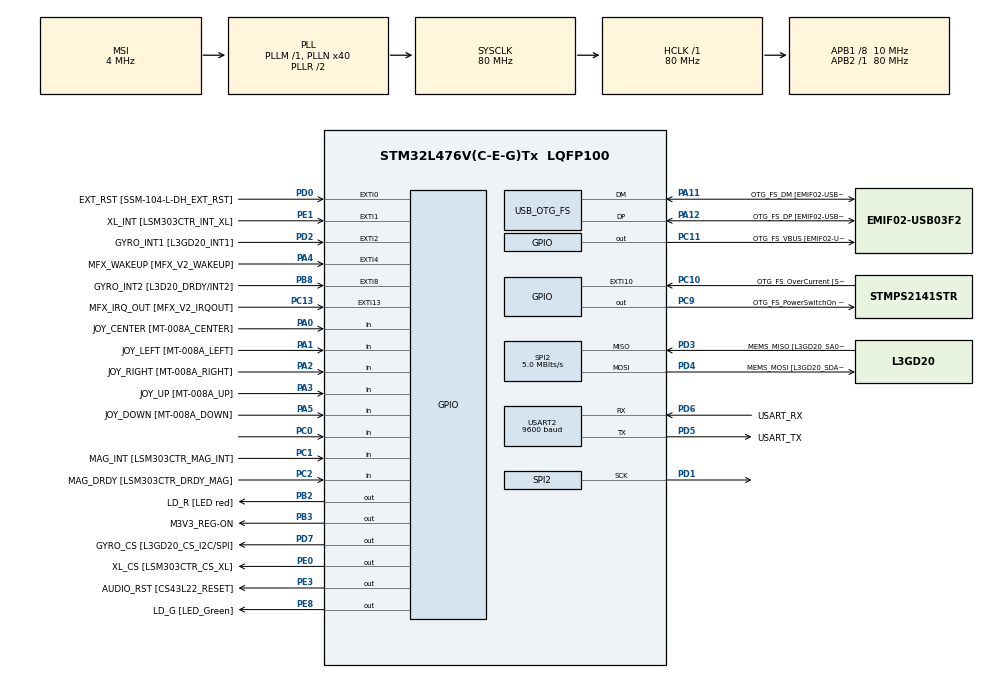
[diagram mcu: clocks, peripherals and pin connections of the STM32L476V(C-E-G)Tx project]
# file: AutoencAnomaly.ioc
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Mcu.Family=STM32L4
Mcu.Name=STM32L476V(C-E-G)Tx
Mcu.Package=LQFP100
NVIC.OTG_FS_IRQn=true\:0\:0\:false\:false\:true\:true\:true\:true
NVIC.PriorityGroup=NVIC_PRIORITYGROUP_4
PA0.GPIO_Label=JOY_CENTER [MT-008A_CENTER]
PA0.GPIO_Mode=GPIO_MODE_INPUT
PA0.GPIO_PuPd=GPIO_PULLDOWN
PA0.Signal=GPIO_Input
PA1.GPIO_Label=JOY_LEFT [MT-008A_LEFT]
PA1.GPIO_Mode=GPIO_MODE_INPUT
PA1.GPIO_PuPd=GPIO_PULLDOWN
PA1.Signal=GPIO_Input
PA10.Signal=LCD_COM2
PA11.GPIO_Label=OTG_FS_DM [EMIF02-USB03F2_D-out]
PA11.GPIO_Mode=GPIO_MODE_AF_PP
PA11.GPIO_PuPd=GPIO_NOPULL
PA11.GPIO_Speed=GPIO_SPEED_FREQ_VERY_HIGH
PA11.Mode=Host_Only
PA11.Signal=USB_OTG_FS_DM
PA12.GPIO_Label=OTG_FS_DP [EMIF02-USB03F2_D+out]
PA12.GPIO_Mode=GPIO_MODE_AF_PP
PA12.GPIO_PuPd=GPIO_NOPULL
PA12.GPIO_Speed=GPIO_SPEED_FREQ_VERY_HIGH
PA12.Mode=Host_Only
PA12.Signal=USB_OTG_FS_DP
PA13\ (JTMS-SWDIO).GPIO_Label=SWDIO
PA13\ (JTMS-SWDIO).Mode=Serial_Wire
PA13\ (JTMS-SWDIO).Signal=SYS_JTMS-SWDIO
PA14\ (JTCK-SWCLK).GPIO_Label=SWCLK
PA14\ (JTCK-SWCLK).Mode=Serial_Wire
PA14\ (JTCK-SWCLK).Signal=SYS_JTCK-SWCLK
PA15\ (JTDI).Signal=LCD_SEG17
PA2.GPIO_Label=JOY_RIGHT [MT-008A_RIGHT]
PA2.GPIO_Mode=GPIO_MODE_INPUT
PA2.GPIO_PuPd=GPIO_PULLDOWN
PA2.Signal=GPIO_Input
PA3.GPIO_Label=JOY_UP [MT-008A_UP]
PA3.GPIO_Mode=GPIO_MODE_INPUT
PA3.GPIO_PuPd=GPIO_PULLDOWN
PA3.Signal=GPIO_Input
PA4.GPIO_Label=MFX_WAKEUP [MFX_V2_WAKEUP]
PA4.GPIO_ModeDefaultEXTI=GPIO_MODE_EVT_RISING
PA4.GPIO_PuPd=GPIO_NOPULL
PA4.Signal=GPXTI4
PA5.GPIO_Label=JOY_DOWN [MT-008A_DOWN]
PA5.GPIO_Mode=GPIO_MODE_INPUT
PA5.GPIO_PuPd=GPIO_PULLDOWN
PA5.Signal=GPIO_Input
PA6.Signal=LCD_SEG3
PA7.Signal=LCD_SEG4
PA8.GPIO_Mode=GPIO_MODE_AF_PP
PA8.GPIO_PuPd=GPIO_NOPULL
PA8.GPIO_Speed=GPIO_SPEED_FREQ_LOW
PA8.Signal=LCD_COM0
PA9.GPIO_Mode=GPIO_MODE_AF_PP
PA9.GPIO_PuPd=GPIO_NOPULL
PA9.GPIO_Speed=GPIO_SPEED_FREQ_LOW
PA9.Signal=LCD_COM1
PB0.Signal=LCD_SEG5
PB1.Signal=LCD_SEG6
PB10.Signal=LCD_SEG10
PB11.Signal=LCD_SEG11
PB12.Signal=LCD_SEG12
PB13.Signal=LCD_SEG13
PB14.Signal=LCD_SEG14
PB15.Signal=LCD_SEG15
PB2.GPIO_Label=LD_R [LED red]
PB2.GPIO_ModeDefaultOutputPP=GPIO_MODE_OUTPUT_PP
PB2.GPIO_PuPd=GPIO_PULLUP
PB2.GPIO_Speed=GPIO_SPEED_FREQ_VERY_HIGH
PB2.Signal=GPIO_Output
PB3\ (JTDO-TRACESWO).GPIO_Label=M3V3_REG-ON
PB3\ (JTDO-TRACESWO).GPIO_ModeDefaultOutputPP=GPIO_MODE_OUTPUT_PP
PB3\ (JTDO-TRACESWO).GPIO_PuPd=GPIO_NOPULL
PB3\ (JTDO-TRACESWO).GPIO_Speed=GPIO_SPEED_FREQ_LOW
PB3\ (JTDO-TRACESWO).Signal=GPIO_Output
PB4\ (NJTRST).Signal=LCD_SEG8
PB5.Signal=LCD_SEG9
PB6.GPIO_FM6=__NULL
PB6.GPIO_Label=I2C1_SCL [SSM-104-L-DH_SCL]
PB6.GPIO_Mode=GPIO_MODE_AF_OD
PB6.GPIO_Pu=GPIO_PULLUP
PB6.GPIO_Speed=GPIO_SPEED_FREQ_VERY_HIGH
PB6.Signal=I2C1_SCL
PB7.Signal=LCD_SEG21
PB8.GPIO_Label=GYRO_INT2 [L3D20_DRDY/INT2]
PB8.GPIO_ModeDefaultEXTI=GPIO_MODE_EVT_RISING
PB8.GPIO_PuPd=GPIO_NOPULL
PB8.Signal=GPXTI8
PB9.Signal=LCD_COM3
PC0.Signal=GPIO_Input
PC1.GPIO_Label=MAG_INT [LSM303CTR_MAG_INT]
PC1.GPIO_Mode=GPIO_MODE_INPUT
PC1.GPIO_PuPd=GPIO_NOPULL
PC1.Signal=GPIO_Input
PC10.GPIO_Label=OTG_FS_OverCurrent [STMPS2141STR_FAULT]
PC10.GPIO_ModeDefaultEXTI=GPIO_MODE_EVT_RISING
PC10.GPIO_PuPd=GPIO_NOPULL
PC10.Signal=GPXTI10
PC11.GPIO_Label=OTG_FS_VBUS [EMIF02-USB03F2_Vbus]
PC11.GPIO_ModeDefaultOutputPP=GPIO_MODE_OUTPUT_PP
PC11.GPIO_PuPd=GPIO_NOPULL
PC11.GPIO_Speed=GPIO_SPEED_FREQ_LOW
PC11.Signal=GPIO_Output
PC12.Signal=LCD_SEG30
PC13.GPIO_Label=MFX_IRQ_OUT [MFX_V2_IRQOUT]
PC13.GPIO_ModeDefaultEXTI=GPIO_MODE_EVT_RISING
PC13.GPIO_PuPd=GPIO_NOPULL
PC13.Signal=GPXTI13
PC14-OSC32_IN\ (PC14).Mode=LSE-External-Oscillator
PC14-OSC32_IN\ (PC14).Signal=RCC_OSC32_IN
PC15-OSC32_OUT\ (PC15).Mode=LSE-External-Oscillator
PC15-OSC32_OUT\ (PC15).Signal=RCC_OSC32_OUT
PC2.GPIO_Label=MAG_DRDY [LSM303CTR_DRDY_MAG]
PC2.GPIO_Mode=GPIO_MODE_INPUT
PC2.GPIO_PuPd=GPIO_NOPULL
PC2.Signal=GPIO_Input
PC3.GPIO_Mode=GPIO_MODE_AF_PP
PC3.GPIO_PuPd=GPIO_NOPULL
PC3.GPIO_Speed=GPIO_SPEED_FREQ_LOW
PC3.Signal=LCD_VLCD
PC4.Signal=LCD_SEG22
PC5.Signal=LCD_SEG23
PC6.Signal=LCD_SEG24
PC7.Signal=LCD_SEG25
PC8.Signal=LCD_SEG26
PC9.GPIO_Label=OTG_FS_PowerSwitchOn [STMPS2141STR_EN]
PC9.GPIO_ModeDefaultOutputPP=GPIO_MODE_OUTPUT_PP
PC9.GPIO_PuPd=GPIO_NOPULL
PC9.GPIO_Speed=GPIO_SPEED_FREQ_LOW
PC9.PinState=GPIO_PIN_SET
PC9.Signal=GPIO_Output
PD0.GPIO_Label=EXT_RST [SSM-104-L-DH_EXT_RST]
PD0.GPIO_ModeDefaultEXTI=GPIO_MODE_EVT_RISING
PD0.GPIO_PuPd=GPIO_NOPULL
PD0.Signal=GPXTI0
PD1.Mode=Full_Duplex_Master
PD1.Signal=SPI2_SCK
PD11.Signal=LCD_SEG31
PD12.Signal=LCD_SEG32
PD13.Signal=LCD_SEG33
PD14.Signal=LCD_SEG34
PD15.Signal=LCD_SEG35
PD2.GPIO_Label=GYRO_INT1 [L3GD20_INT1]
PD2.GPIO_ModeDefaultEXTI=GPIO_MODE_EVT_RISING
PD2.GPIO_PuPd=GPIO_NOPULL
PD2.Signal=GPXTI2
PD3.GPIO_Label=MEMS_MISO [L3GD20_SA0/SDO]
PD3.GPIO_Mode=GPIO_MODE_AF_PP
PD3.GPIO_PuPd=GPIO_NOPULL
PD3.GPIO_Speed=GPIO_SPEED_FREQ_VERY_HIGH
PD3.Mode=Full_Duplex_Master
PD3.Signal=SPI2_MISO
PD4.GPIO_Label=MEMS_MOSI [L3GD20_SDA/SDI/SDO]
PD4.GPIO_Mode=GPIO_MODE_AF_PP
PD4.GPIO_PuPd=GPIO_NOPULL
PD4.GPIO_Speed=GPIO_SPEED_FREQ_VERY_HIGH
PD4.Mode=Full_Duplex_Master
PD4.Signal=SPI2_MOSI
PD5.GPIO_Label=USART_TX
PD5.GPIO_Mode=GPIO_MODE_AF_PP
PD5.GPIO_PuPd=GPIO_PULLUP
PD5.GPIO_Speed=GPIO_SPEED_FREQ_VERY_HIGH
PD5.Mode=Asynchronous
PD5.Signal=USART2_TX
PD6.GPIO_Label=USART_RX
PD6.GPIO_Mode=GPIO_MODE_AF_PP
PD6.GPIO_PuPd=GPIO_PULLUP
PD6.GPIO_Speed=GPIO_SPEED_FREQ_VERY_HIGH
PD6.Mode=Asynchronous
PD6.Signal=USART2_RX
PD7.GPIO_Label=GYRO_CS [L3GD20_CS_I2C/SPI]
PD7.GPIO_ModeDefaultOutputPP=GPIO_MODE_OUTPUT_PP
PD7.GPIO_PuPd=GPIO_NOPULL
PD7.GPIO_Speed=GPIO_SPEED_FREQ_VERY_HIGH
PD7.Signal=GPIO_Output
PD8.Signal=LCD_SEG28
PD9.Signal=LCD_SEG29
PE0.GPIO_Label=XL_CS [LSM303CTR_CS_XL]
PE0.GPIO_ModeDefaultOutputPP=GPIO_MODE_OUTPUT_PP
PE0.GPIO_PuPd=GPIO_NOPULL
PE0.GPIO_Speed=GPIO_SPEED_FREQ_LOW
PE0.Signal=GPIO_Output
PE1.GPIO_Label=XL_INT [LSM303CTR_INT_XL]
PE1.GPIO_ModeDefaultEXTI=GPIO_MODE_EVT_RISING
PE1.GPIO_PuPd=GPIO_NOPULL
PE1.Signal=GPXTI1
PE10.GPIO_Mode=GPIO_MODE_AF_PP
PE10.GPIO_PuPd=GPIO_NOPULL
PE10.GPIO_Speed=GPIO_SPEED_FREQ_VERY_HIGH
PE10.Signal=QUADSPI_CLK
PE11.GPIO_Mode=GPIO_MODE_AF_PP
PE11.GPIO_PuPd=GPIO_NOPULL
PE11.GPIO_Speed=GPIO_SPEED_FREQ_VERY_HIGH
PE11.Signal=QUADSPI_NCS
PE12.GPIO_Mode=GPIO_MODE_AF_PP
PE12.GPIO_PuPd=GPIO_NOPULL
PE12.GPIO_Speed=GPIO_SPEED_FREQ_VERY_HIGH
PE12.Signal=QUADSPI_BK1_IO0
PE13.GPIO_Mode=GPIO_MODE_AF_PP
PE13.GPIO_PuPd=GPIO_NOPULL
PE13.GPIO_Speed=GPIO_SPEED_FREQ_VERY_HIGH
PE13.Signal=QUADSPI_BK1_IO1
PE14.GPIO_Label=QSPI_D2 [N25Q128A13EF840E_DQ2]
PE14.GPIO_Mode=GPIO_MODE_AF_PP
PE14.GPIO_PuPd=GPIO_NOPULL
PE14.GPIO_Speed=GPIO_SPEED_FREQ_VERY_HIGH
PE14.Signal=QUADSPI_BK1_IO2
PE15.GPIO_Label=QSPI_D3 [N25Q128A13EF840E_DQ3]
PE15.GPIO_Mode=GPIO_MODE_AF_PP
PE15.GPIO_PuPd=GPIO_NOPULL
PE15.GPIO_Speed=GPIO_SPEED_FREQ_VERY_HIGH
PE15.Signal=QUADSPI_BK1_IO3
PE2.Signal=LCD_SEG38
PE3.GPIO_Label=AUDIO_RST [CS43L22_RESET]
PE3.GPIO_ModeDefaultOutputPP=GPIO_MODE_OUTPUT_PP
PE3.GPIO_PuPd=GPIO_NOPULL
PE3.GPIO_Speed=GPIO_SPEED_FREQ_HIGH
PE3.Signal=GPIO_Output
PE4.GPIO_Label=SAI1_FS [CS43L22_LRCK]
PE4.GPIO_Mode=GPIO_MODE_AF_PP
PE4.GPIO_PuPd=GPIO_NOPULL
PE4.GPIO_Speed=GPIO_SPEED_FREQ_VERY_HIGH
PE4.Signal=SAI1_FS_A
PE5.GPIO_Label=SAI1_SCK [CS43L22_SCLK]
PE5.GPIO_Mode=GPIO_MODE_AF_PP
PE5.GPIO_PuPd=GPIO_NOPULL
PE5.GPIO_Speed=GPIO_SPEED_FREQ_VERY_HIGH
PE5.Signal=SAI1_SCK_A
PE6.GPIO_Label=SAI1_SD [CS43L22_SDIN]
PE6.GPIO_Mode=GPIO_MODE_AF_PP
PE6.GPIO_PuPd=GPIO_NOPULL
PE6.GPIO_Speed=GPIO_SPEED_FREQ_VERY_HIGH
PE6.Signal=SAI1_SD_A
PE7.GPIO_Label=AUDIO_DIN [MP34DT01_DOUT]
PE7.GPIO_Mode=GPIO_MODE_AF_PP
PE7.GPIO_PuPd=GPIO_NOPULL
PE7.GPIO_Speed=GPIO_SPEED_FREQ_VERY_HIGH
PE7.Signal=SAI1_SD_B
PE8.GPIO_Label=LD_G [LED_Green]
PE8.GPIO_ModeDefaultOutputPP=GPIO_MODE_OUTPUT_PP
PE8.GPIO_PuPd=GPIO_PULLUP
PE8.GPIO_Speed=GPIO_SPEED_FREQ_VERY_HIGH
PE8.Signal=GPIO_Output
PE9.GPIO_Label=AUDIO_CLK [MP34DT01_CLK]
PE9.GPIO_Mode=GPIO_MODE_AF_PP
PE9.GPIO_PuPd=GPIO_NOPULL
PE9.GPIO_Speed=GPIO_SPEED_FREQ_LOW
PE9.Signal=SAI1_FS_B
PH0-OSC_IN\ (PH0).Mode=HSE-External-Oscillator
PH0-OSC_IN\ (PH0).Signal=RCC_OSC_IN
PH1-OSC_OUT\ (PH1).Mode=HSE-External-Oscillator
PH1-OSC_OUT\ (PH1).Signal=RCC_OSC_OUT
ProjectManager.HeapSize=0x800
ProjectManager.StackSize=0x1000
ProjectManager.TargetToolchain=STM32CubeIDE
RCC.ADCFreq_Value=48000000
RCC.AHBFreq_Value=80000000
RCC.APB1CLKDivider=RCC_HCLK_DIV8
RCC.APB1Freq_Value=10000000
RCC.APB1TimFreq_Value=20000000
RCC.APB2Freq_Value=80000000
RCC.APB2TimFreq_Value=80000000
RCC.CortexFreq_Value=80000000
RCC.HCLKFreq_Value=80000000
RCC.HSE_VALUE=8000000
RCC.HSI_VALUE=16000000
RCC.MSI_VALUE=4000000
RCC.PLLN=40
RCC.PLLSAI1N=24
RCC.PREFETCH_ENABLE=1
RCC.RTCClockSelection=RCC_RTCCLKSOURCE_LSE
RCC.SYSCLKFreq_VALUE=80000000
RCC.SYSCLKSource=RCC_SYSCLKSOURCE_PLLCLK
RCC.USART2CLockSelection=RCC_USART2CLKSOURCE_SYSCLK
RCC.USBFreq_Value=48000000
RCC.VCOOutputFreq_Value=160000000
SPI2.BaudRatePrescaler=SPI_BAUDRATEPRESCALER_2
SPI2.CalculateBaudRate=5.0 MBits/s
SPI2.Direction=SPI_DIRECTION_2LINES
SPI2.Mode=SPI_MODE_MASTER
SPI2.VirtualType=VM_MASTER
STMicroelectronics.X-CUBE-AI.7.1.0.ActivationBufferSizeList=44
STMicroelectronics.X-CUBE-AI.7.1.0.ActivationBuffers=pool0
STMicroelectronics.X-CUBE-AI.7.1.0.ActivationNames=pool0
STMicroelectronics.X-CUBE-AI.7.1.0.ActivationSizes=AI_NETWORK_DATA_ACTIVATION_1_SIZE
STMicroelectronics.X-CUBE-AI.7.1.0.HeapSize=0x800
STMicroelectronics.X-CUBE-AI.7.1.0.InternalRamActivationBufferMaxSize=AI_NETWORK_DATA_ACTIVATIONS_SIZE
STMicroelectronics.X-CUBE-AI.7.1.0.LatestDirectoryUsed-5fd90cdd253ec951de578391504b666c0e46cd835d5aafb4f89f38390d5d8160=C\:\\Archivio\\Lavoro\\MBDA\\Hums\\tinyml-example-anomaly-detection-master\\autoencoder\\models
STMicroelectronics.X-CUBE-AI.7.1.0.MaximumNumberOfInputLayer=1
STMicroelectronics.X-CUBE-AI.7.1.0.MaximumNumberOfOutputLayer=1
STMicroelectronics.X-CUBE-AI.7.1.0.MaximumSizeOfInputLayer=AI_NETWORK_IN_1_SIZE_BYTES
STMicroelectronics.X-CUBE-AI.7.1.0.MaximumSizeOfOutputLayer=AI_NETWORK_OUT_1_SIZE_BYTES
STMicroelectronics.X-CUBE-AI.7.1.0.ModelActualCompression-5fd90cdd253ec951de578391504b666c0e46cd835d5aafb4f89f38390d5d8160=0.0
STMicroelectronics.X-CUBE-AI.7.1.0.ModelCompression-5fd90cdd253ec951de578391504b666c0e46cd835d5aafb4f89f38390d5d8160=1
STMicroelectronics.X-CUBE-AI.7.1.0.ModelFlashOccupation-5fd90cdd253ec951de578391504b666c0e46cd835d5aafb4f89f38390d5d8160=68
STMicroelectronics.X-CUBE-AI.7.1.0.ModelHashList=5fd90cdd253ec951de578391504b666c0e46cd835d5aafb4f89f38390d5d8160
STMicroelectronics.X-CUBE-AI.7.1.0.ModelKind-5fd90cdd253ec951de578391504b666c0e46cd835d5aafb4f89f38390d5d8160=TFLITE
STMicroelectronics.X-CUBE-AI.7.1.0.ModelMacc-5fd90cdd253ec951de578391504b666c0e46cd835d5aafb4f89f38390d5d8160=22
STMicroelectronics.X-CUBE-AI.7.1.0.ModelName-5fd90cdd253ec951de578391504b666c0e46cd835d5aafb4f89f38390d5d8160=network
STMicroelectronics.X-CUBE-AI.7.1.0.ModelNameList=network
STMicroelectronics.X-CUBE-AI.7.1.0.ModelRamOccupation-5fd90cdd253ec951de578391504b666c0e46cd835d5aafb4f89f38390d5d8160=44
STMicroelectronics.X-CUBE-AI.7.1.0.ModelStructureFile-5fd90cdd253ec951de578391504b666c0e46cd835d5aafb4f89f38390d5d8160=C\:\\Archivio\\Lavoro\\MBDA\\Hums\\tinyml-example-anomaly-detection-master\\autoencoder\\models\\my_model.tflite
STMicroelectronics.X-CUBE-AI.7.1.0.ModelType-5fd90cdd253ec951de578391504b666c0e46cd835d5aafb4f89f38390d5d8160=STM32Cube.AI runtime
STMicroelectronics.X-CUBE-AI.7.1.0.ReadyForCodeGeneration=true
STMicroelectronics.X-CUBE-AI.7.1.0.StackSize=0x1000
STMicroelectronics.X-CUBE-AI.7.1.0.WorkingBufferStartAddrList=0xFFFFFFFF
STMicroelectronics.X-CUBE-AI.7.1.0.XAaCUBEAaAICcArtificialOoIntelligenceJjCore=true
TIM16.Period=65535
TIM16.Prescaler=80
USART2.BaudRate=9600
USART2.VirtualMode-Asynchronous=VM_ASYNC
USB_HOST.BSP.number=1
USB_HOST.USBH_HandleTypeDef=hUsbHostFS
USB_HOST.VirtualModeFS=Cdc
USB_HOST0.BSP.STBoard=false
USB_HOST0.BSP.api=Unknown
USB_HOST0.BSP.instance=PC9
USB_HOST0.BSP.ip=GPIO
USB_HOST0.BSP.mode=Output
USB_HOST0.BSP.name=Drive_VBUS_FS
USB_HOST0.BSP.solution=PC9
USB_OTG_FS.VirtualMode=Host_Only
USB_OTG_FS.phy_itface=HCD_PHY_EMBEDDED
VP_CRC_VS_CRC.Mode=CRC_Activate
VP_STMicroelectronics.X-CUBE-AI_VS_ArtificialOoIntelligenceJjXAaCUBEAaAI_7.1.0.Mode=ArtificialOoIntelligenceJjXAaCUBEAaAI
VP_TIM16_VS_ClockSourceINT.Mode=Enable_Timer
VP_USB_HOST_VS_USB_HOST_CDC_FS.Mode=CDC_FS
board=STM32L476G-DISCO

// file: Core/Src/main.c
/* USER CODE BEGIN Header */
/**
 ******************************************************************************
 * @file           : main.c
 * @brief          : Main program body
 ******************************************************************************
 * @attention
 *
 * Copyright (c) 2022 STMicroelectronics.
 * All rights reserved.
 *
 * This software is licensed under terms that can be found in the LICENSE file
 * in the root directory of this software component.
 * If no LICENSE file comes with this software, it is provided AS-IS.
 *
 ******************************************************************************
 */
/* USER CODE END Header */
#include "main.h"
#include "usb_host.h"

/* USER CODE BEGIN Includes */
#include <stdio.h>

#include "../../../Drivers/BSP/Components/lsm303c/lsm303c.h"
#include "../../../Utilities/utils.h"
#include "../../../Utilities/utils.c"

#include "ai_datatypes_defines.h"
#include "ai_platform.h"
#include "network.h"
#include "network_data.h"
/* USER CODE END Includes */

CRC_HandleTypeDef hcrc;

SPI_HandleTypeDef hspi2;

TIM_HandleTypeDef htim16;

UART_HandleTypeDef huart2;

void SystemClock_Config(void);
static void MX_GPIO_Init(void);
static void MX_SPI2_Init(void);
static void MX_USART2_UART_Init(void);
static void MX_CRC_Init(void);
static void MX_TIM16_Init(void);
void MX_USB_HOST_Process(void);

/* USER CODE BEGIN 0 */

typedef enum {
	COMPASS_OK = 0, COMPASS_ERROR = 1, COMPASS_TIMEOUT = 2
} COMPASS_StatusTypeDef;

extern void BSP_COMPASS_AccGetXYZ(int16_t *pDataXYZ);
extern COMPASS_StatusTypeDef BSP_COMPASS_Init(void);

/* USER CODE END 0 */

int main(void) {
	/* USER CODE BEGIN 1 */

	// Settings
	int NUM_AXES = 3;           // Number of axes on accelerometer
	int MAX_MEASUREMENTS = 16; // Number of samples to keep in each axis
	float MAD_SCALE = 1.4826;   // Scale MAD to be inline with calcs
	float THRESHOLD = 7e-07;    // Any MSE over this is an anomaly
	int SAMPLE_RATE = 200;      // How fast to collect measurements (Hz)

	float sample[MAX_MEASUREMENTS][NUM_AXES];
	float measurements[MAX_MEASUREMENTS];
	float mad[NUM_AXES];
	float y_val[NUM_AXES];
	float mse;

	char buf[50];
	int buf_len = 0;
	ai_error ai_err;
	ai_network_report report;
	ai_i32 nbatch;
	uint32_t timestamp;
	int16_t pDataXYZ[3];

	//float y_val;

	// Memoria per tenere valori intermedi della rete
	AI_ALIGNED(4) ai_u8 activations[AI_NETWORK_DATA_ACTIVATIONS_SIZE];

	// Buffer per input ed output tensor
	AI_ALIGNED(4) ai_float in_data[AI_NETWORK_IN_1_SIZE];
	AI_ALIGNED(4) ai_float out_data[AI_NETWORK_OUT_1_SIZE];

	/* AI buffer IO handlers */
	ai_buffer *ai_input;
	ai_buffer *ai_output;

	// Puntatore al modello
	ai_handle network = AI_HANDLE_NULL;

	// Imposta memoria e pesi
	ai_network_params ai_params = { AI_NETWORK_DATA_WEIGHTS(
			ai_network_data_weights_get()), AI_NETWORK_DATA_ACTIVATIONS(
			activations) };

	/* USER CODE END 1 */

	/* MCU Configuration--------------------------------------------------------*/

	/* Reset of all peripherals, Initializes the Flash interface and the Systick. */
	HAL_Init();

	/* Configure the system clock */
	SystemClock_Config();

	/* Initialize all configured peripherals */
	MX_GPIO_Init();
	MX_SPI2_Init();
	MX_USART2_UART_Init();
	MX_USB_HOST_Init();
	MX_CRC_Init();
	MX_TIM16_Init();
	/* USER CODE BEGIN 2 */

	BSP_COMPASS_Init();

	// Welcome
	timestamp = htim16.Instance->CNT;

	HAL_GPIO_WritePin(GPIOB, GPIO_PIN_2, GPIO_PIN_SET);
	HAL_Delay(500);
	HAL_GPIO_WritePin(GPIOB, GPIO_PIN_2, GPIO_PIN_RESET);

	HAL_TIM_Base_Start(&htim16);
	buf_len = sprintf(buf, "\r\n\r\nSTM X-Cube-AI test\r\n");
	HAL_UART_Transmit(&huart2, (uint8_t*) buf, buf_len, 100);

	// rete
	ai_err = ai_network_create(&network, AI_NETWORK_DATA_CONFIG);
	if (ai_err.type != AI_ERROR_NONE) {
		buf_len = sprintf(buf, "ERROR: could not create NN instance\r\n");
		HAL_UART_Transmit(&huart2, (uint8_t*) buf, buf_len, 100);
		while (1)
			;
	}
	if (!ai_network_init(network, &ai_params)) {
		buf_len = sprintf(buf, "ERROR: could not init NN instance\r\n");
		HAL_UART_Transmit(&huart2, (uint8_t*) buf, buf_len, 100);
		while (1)
			;
	}
	if (ai_network_get_report(network, &report) != true) {
		buf_len = sprintf(buf, "ai get report error\r\n");
		HAL_UART_Transmit(&huart2, (uint8_t*) buf, buf_len, 100);
		while (1)
			;
	}

	buf_len = sprintf(buf, "Model name      : %s\r\n", report.model_name);
	HAL_UART_Transmit(&huart2, (uint8_t*) buf, buf_len, 100);
	buf_len = sprintf(buf, "Model signature : %s\r\n", report.model_signature);
	HAL_UART_Transmit(&huart2, (uint8_t*) buf, buf_len, 100);

	ai_input = &report.inputs[0];
	ai_output = &report.outputs[0];

	buf_len = sprintf(buf, "input[0] : (%d, %d, %d)\r\n",
			AI_BUFFER_SHAPE_ELEM(ai_input, AI_SHAPE_HEIGHT),
			AI_BUFFER_SHAPE_ELEM(ai_input, AI_SHAPE_WIDTH),
			AI_BUFFER_SHAPE_ELEM(ai_input, AI_SHAPE_CHANNEL));
	HAL_UART_Transmit(&huart2, (uint8_t*) buf, buf_len, 100);
	buf_len = sprintf(buf, "output[0] : (%d, %d, %d)\r\n",
			AI_BUFFER_SHAPE_ELEM(ai_output, AI_SHAPE_HEIGHT),
			AI_BUFFER_SHAPE_ELEM(ai_output, AI_SHAPE_WIDTH),
			AI_BUFFER_SHAPE_ELEM(ai_output, AI_SHAPE_CHANNEL));
	HAL_UART_Transmit(&huart2, (uint8_t*) buf, buf_len, 100);

	// puntatori ai buffer dati
	ai_input = ai_network_inputs_get(network, NULL);
	ai_output = ai_network_outputs_get(network, NULL);

	ai_input[0].data = AI_HANDLE_PTR(in_data);
	ai_output[0].data = AI_HANDLE_PTR(out_data);

	/* USER CODE END 2 */

	/* Infinite loop */
	/* USER CODE BEGIN WHILE */
	while (1) {
		// Take a given time worth of measurements
		int i = 0;
		while (i < MAX_MEASUREMENTS) {
			if (timestamp > 65535 - (1000000 / SAMPLE_RATE)) {
				// Update timestamps to maintain sample rate
				timestamp = htim16.Instance->CNT;
			}
			if (htim16.Instance->CNT >= timestamp + (1000000 / SAMPLE_RATE)) {

				// Take sample measurement
				BSP_COMPASS_AccGetXYZ(pDataXYZ);
				sample[i][0] = (double) pDataXYZ[0] * 0.000061;
				sample[i][1] = (double) pDataXYZ[1] * 0.000061;
				sample[i][2] = (double) pDataXYZ[2] * 0.000061;

				buf_len = sprintf(buf, "%f, %f, %f\r\n", sample[i][0],
						sample[i][1], sample[i][2]);
				HAL_UART_Transmit(&huart2, (uint8_t*) buf, buf_len, 100);

				// Update sample counter
				i++;
			}
		}

		// For each axis, compute the MAD (scale up by 1.4826)
		for (int axis = 0; axis < NUM_AXES; axis++) {
			for (int i = 0; i < MAX_MEASUREMENTS; i++) {
				measurements[i] = sample[i][axis];
			}
			mad[axis] = MAD_SCALE * calc_mad(measurements, MAX_MEASUREMENTS);
		}

		// Print out MAD calculations}
		buf_len = sprintf(buf, "MAD: x:%f, y:%f, z:%f\r\n", mad[0], mad[1],
				mad[2]);
		HAL_UART_Transmit(&huart2, (uint8_t*) buf, buf_len, 100);

		//input buffer
		for (int axis = 0; axis < NUM_AXES; axis++) {
			in_data[axis] = mad[axis];
		}

		timestamp = htim16.Instance->CNT;

		nbatch = ai_network_run(network, ai_input, ai_output);
		if (nbatch != 1) {
			buf_len = sprintf(buf, "ERROR: could not run inference\r\n");
			HAL_UART_Transmit(&huart2, (uint8_t*) buf, buf_len, 100);
		}

		uint32_t inferenceTime = htim16.Instance->CNT - timestamp;

		// Read predicted y value from output buffer (tensor)
		for (int axis = 0; axis < NUM_AXES; axis++) {
			y_val[axis] = ((float*) out_data)[axis];
		}

		// Print out result
		buf_len = sprintf(buf, "Inference result: ");
		HAL_UART_Transmit(&huart2, (uint8_t*) buf, buf_len, 100);
		buf_len = sprintf(buf, "x:%lf, ", y_val[0]);
		HAL_UART_Transmit(&huart2, (uint8_t*) buf, buf_len, 100);
		buf_len = sprintf(buf, "y:%lf, ", y_val[1]);
		HAL_UART_Transmit(&huart2, (uint8_t*) buf, buf_len, 100);
		buf_len = sprintf(buf, "z:%lf | Duration: %lu\r\n", y_val[2],
				inferenceTime);
		HAL_UART_Transmit(&huart2, (uint8_t*) buf, buf_len, 100);

		// Calculate MSE between given and predicted MAD values
		mse = calc_mse(mad, y_val, NUM_AXES);
		buf_len = sprintf(buf, "MSE: %f \r\n", mse);
		HAL_UART_Transmit(&huart2, (uint8_t*) buf, buf_len, 100);

		// Compare to threshold
		if (mse > THRESHOLD) {
			HAL_GPIO_WritePin(GPIOB, GPIO_PIN_2, GPIO_PIN_SET);
			HAL_GPIO_WritePin(GPIOE, GPIO_PIN_8, GPIO_PIN_RESET);
			buf_len = sprintf(buf, "\033[1;31m DANGER!\r\n\033[1;37m");
			HAL_UART_Transmit(&huart2, (uint8_t*) buf, buf_len, 100);
		} else {
			HAL_GPIO_WritePin(GPIOE, GPIO_PIN_8, GPIO_PIN_SET);
			HAL_GPIO_WritePin(GPIOB, GPIO_PIN_2, GPIO_PIN_RESET);
			buf_len = sprintf(buf, "\033[0;32m ALL OK!\r\n\033[1;37m");
			HAL_UART_Transmit(&huart2, (uint8_t*) buf, buf_len, 100);
		}

		/* USER CODE END WHILE */
		MX_USB_HOST_Process();

	}
}

void SystemClock_Config(void) {
	RCC_OscInitTypeDef RCC_OscInitStruct = { 0 };
	RCC_ClkInitTypeDef RCC_ClkInitStruct = { 0 };

	/** Configure the main internal regulator output voltage
	 */
	if (HAL_PWREx_ControlVoltageScaling(PWR_REGULATOR_VOLTAGE_SCALE1)
			!= HAL_OK) {
		Error_Handler();
	}

	/** Configure LSE Drive Capability
	 */
	HAL_PWR_EnableBkUpAccess();
	__HAL_RCC_LSEDRIVE_CONFIG(RCC_LSEDRIVE_LOW);

	/** Initializes the RCC Oscillators according to the specified parameters
	 * in the RCC_OscInitTypeDef structure.
	 */
	RCC_OscInitStruct.OscillatorType = RCC_OSCILLATORTYPE_LSE
			| RCC_OSCILLATORTYPE_MSI;
	RCC_OscInitStruct.LSEState = RCC_LSE_ON;
	RCC_OscInitStruct.MSIState = RCC_MSI_ON;
	RCC_OscInitStruct.MSICalibrationValue = 0;
	RCC_OscInitStruct.MSIClockRange = RCC_MSIRANGE_6;
	RCC_OscInitStruct.PLL.PLLState = RCC_PLL_ON;
	RCC_OscInitStruct.PLL.PLLSource = RCC_PLLSOURCE_MSI;
	RCC_OscInitStruct.PLL.PLLM = 1;
	RCC_OscInitStruct.PLL.PLLN = 40;
	RCC_OscInitStruct.PLL.PLLP = RCC_PLLP_DIV7;
	RCC_OscInitStruct.PLL.PLLQ = RCC_PLLQ_DIV2;
	RCC_OscInitStruct.PLL.PLLR = RCC_PLLR_DIV2;
	if (HAL_RCC_OscConfig(&RCC_OscInitStruct) != HAL_OK) {
		Error_Handler();
	}

	/** Initializes the CPU, AHB and APB buses clocks
	 */
	RCC_ClkInitStruct.ClockType = RCC_CLOCKTYPE_HCLK | RCC_CLOCKTYPE_SYSCLK
			| RCC_CLOCKTYPE_PCLK1 | RCC_CLOCKTYPE_PCLK2;
	RCC_ClkInitStruct.SYSCLKSource = RCC_SYSCLKSOURCE_PLLCLK;
	RCC_ClkInitStruct.AHBCLKDivider = RCC_SYSCLK_DIV1;
	RCC_ClkInitStruct.APB1CLKDivider = RCC_HCLK_DIV8;
	RCC_ClkInitStruct.APB2CLKDivider = RCC_HCLK_DIV1;

	if (HAL_RCC_ClockConfig(&RCC_ClkInitStruct, FLASH_LATENCY_4) != HAL_OK) {
		Error_Handler();
	}

	/** Enable MSI Auto calibration
	 */
	HAL_RCCEx_EnableMSIPLLMode();
}

static void MX_CRC_Init(void) {

	hcrc.Instance = CRC;
	hcrc.Init.DefaultPolynomialUse = DEFAULT_POLYNOMIAL_ENABLE;
	hcrc.Init.DefaultInitValueUse = DEFAULT_INIT_VALUE_ENABLE;
	hcrc.Init.InputDataInversionMode = CRC_INPUTDATA_INVERSION_NONE;
	hcrc.Init.OutputDataInversionMode = CRC_OUTPUTDATA_INVERSION_DISABLE;
	hcrc.InputDataFormat = CRC_INPUTDATA_FORMAT_BYTES;
	if (HAL_CRC_Init(&hcrc) != HAL_OK) {
		Error_Handler();
	}

}

static void MX_SPI2_Init(void) {

	/* SPI2 parameter configuration*/
	hspi2.Instance = SPI2;
	hspi2.Init.Mode = SPI_MODE_MASTER;
	hspi2.Init.Direction = SPI_DIRECTION_2LINES;
	hspi2.Init.DataSize = SPI_DATASIZE_4BIT;
	hspi2.Init.CLKPolarity = SPI_POLARITY_LOW;
	hspi2.Init.CLKPhase = SPI_PHASE_1EDGE;
	hspi2.Init.NSS = SPI_NSS_SOFT;
	hspi2.Init.BaudRatePrescaler = SPI_BAUDRATEPRESCALER_2;
	hspi2.Init.FirstBit = SPI_FIRSTBIT_MSB;
	hspi2.Init.TIMode = SPI_TIMODE_DISABLE;
	hspi2.Init.CRCCalculation = SPI_CRCCALCULATION_DISABLE;
	hspi2.Init.CRCPolynomial = 7;
	hspi2.Init.CRCLength = SPI_CRC_LENGTH_DATASIZE;
	hspi2.Init.NSSPMode = SPI_NSS_PULSE_ENABLE;
	if (HAL_SPI_Init(&hspi2) != HAL_OK) {
		Error_Handler();
	}

}

static void MX_TIM16_Init(void) {

	htim16.Instance = TIM16;
	htim16.Init.Prescaler = 80;
	htim16.Init.CounterMode = TIM_COUNTERMODE_UP;
	htim16.Init.Period = 65535;
	htim16.Init.ClockDivision = TIM_CLOCKDIVISION_DIV1;
	htim16.Init.RepetitionCounter = 0;
	htim16.Init.AutoReloadPreload = TIM_AUTORELOAD_PRELOAD_DISABLE;
	if (HAL_TIM_Base_Init(&htim16) != HAL_OK) {
		Error_Handler();
	}

}

static void MX_USART2_UART_Init(void) {

	huart2.Instance = USART2;
	huart2.Init.BaudRate = 9600;
	huart2.Init.WordLength = UART_WORDLENGTH_8B;
	huart2.Init.StopBits = UART_STOPBITS_1;
	huart2.Init.Parity = UART_PARITY_NONE;
	huart2.Init.Mode = UART_MODE_TX_RX;
	huart2.Init.HwFlowCtl = UART_HWCONTROL_NONE;
	huart2.Init.OverSampling = UART_OVERSAMPLING_16;
	huart2.Init.OneBitSampling = UART_ONE_BIT_SAMPLE_DISABLE;
	huart2.AdvancedInit.AdvFeatureInit = UART_ADVFEATURE_NO_INIT;
	if (HAL_UART_Init(&huart2) != HAL_OK) {
		Error_Handler();
	}

}

static void MX_GPIO_Init(void) {
	GPIO_InitTypeDef GPIO_InitStruct = { 0 };

	/* GPIO Ports Clock Enable */
	__HAL_RCC_GPIOE_CLK_ENABLE();
	__HAL_RCC_GPIOC_CLK_ENABLE();
	__HAL_RCC_GPIOH_CLK_ENABLE();
	__HAL_RCC_GPIOA_CLK_ENABLE();
	__HAL_RCC_GPIOB_CLK_ENABLE();
	__HAL_RCC_GPIOD_CLK_ENABLE();

	/*Configure GPIO pin Output Level */
	HAL_GPIO_WritePin(GPIOE, AUDIO_RST_Pin | LD_G_Pin | XL_CS_Pin,
			GPIO_PIN_RESET);

	/*Configure GPIO pin Output Level */
	HAL_GPIO_WritePin(GPIOB, LD_R_Pin | M3V3_REG_ON_Pin, GPIO_PIN_RESET);

	/*Configure GPIO pin Output Level */
	HAL_GPIO_WritePin(OTG_FS_PowerSwitchOn_GPIO_Port, OTG_FS_PowerSwitchOn_Pin,
			GPIO_PIN_SET);

	/*Configure GPIO pin Output Level */
	HAL_GPIO_WritePin(OTG_FS_VBUS_GPIO_Port, OTG_FS_VBUS_Pin, GPIO_PIN_RESET);

	/*Configure GPIO pin Output Level */
	HAL_GPIO_WritePin(GYRO_CS_GPIO_Port, GYRO_CS_Pin, GPIO_PIN_RESET);

	/*Configure GPIO pin : PE2 */
	GPIO_InitStruct.Pin = GPIO_PIN_2;
	GPIO_InitStruct.Mode = GPIO_MODE_AF_PP;
	GPIO_InitStruct.Pull = GPIO_NOPULL;
	GPIO_InitStruct.Speed = GPIO_SPEED_FREQ_LOW;
	GPIO_InitStruct.Alternate = GPIO_AF11_LCD;
	HAL_GPIO_Init(GPIOE, &GPIO_InitStruct);

	/*Configure GPIO pin : AUDIO_RST_Pin */
	GPIO_InitStruct.Pin = AUDIO_RST_Pin;
	GPIO_InitStruct.Mode = GPIO_MODE_OUTPUT_PP;
	GPIO_InitStruct.Pull = GPIO_NOPULL;
	GPIO_InitStruct.Speed = GPIO_SPEED_FREQ_HIGH;
	HAL_GPIO_Init(AUDIO_RST_GPIO_Port, &GPIO_InitStruct);

	/*Configure GPIO pins : SAI1_FS_Pin SAI1_SCK_Pin SAI1_SD_Pin AUDIO_DIN_Pin */
	GPIO_InitStruct.Pin = SAI1_FS_Pin | SAI1_SCK_Pin | SAI1_SD_Pin
			| AUDIO_DIN_Pin;
	GPIO_InitStruct.Mode = GPIO_MODE_AF_PP;
	GPIO_InitStruct.Pull = GPIO_NOPULL;
	GPIO_InitStruct.Speed = GPIO_SPEED_FREQ_VERY_HIGH;
	GPIO_InitStruct.Alternate = GPIO_AF13_SAI1;
	HAL_GPIO_Init(GPIOE, &GPIO_InitStruct);

	/*Configure GPIO pins : MFX_IRQ_OUT_Pin OTG_FS_OverCurrent_Pin */
	GPIO_InitStruct.Pin = MFX_IRQ_OUT_Pin | OTG_FS_OverCurrent_Pin;
	GPIO_InitStruct.Mode = GPIO_MODE_EVT_RISING;
	GPIO_InitStruct.Pull = GPIO_NOPULL;
	HAL_GPIO_Init(GPIOC, &GPIO_InitStruct);

	/*Configure GPIO pins : PC0 MAG_INT_Pin MAG_DRDY_Pin */
	GPIO_InitStruct.Pin = GPIO_PIN_0 | MAG_INT_Pin | MAG_DRDY_Pin;
	GPIO_InitStruct.Mode = GPIO_MODE_INPUT;
	GPIO_InitStruct.Pull = GPIO_NOPULL;
	HAL_GPIO_Init(GPIOC, &GPIO_InitStruct);

	/*Configure GPIO pins : PC3 PC4 PC5 PC6
	 PC7 PC8 PC12 */
	GPIO_InitStruct.Pin = GPIO_PIN_3 | GPIO_PIN_4 | GPIO_PIN_5 | GPIO_PIN_6
			| GPIO_PIN_7 | GPIO_PIN_8 | GPIO_PIN_12;
	GPIO_InitStruct.Mode = GPIO_MODE_AF_PP;
	GPIO_InitStruct.Pull = GPIO_NOPULL;
	GPIO_InitStruct.Speed = GPIO_SPEED_FREQ_LOW;
	GPIO_InitStruct.Alternate = GPIO_AF11_LCD;
	HAL_GPIO_Init(GPIOC, &GPIO_InitStruct);

	/*Configure GPIO pins : JOY_CENTER_Pin JOY_LEFT_Pin JOY_RIGHT_Pin JOY_UP_Pin
	 JOY_DOWN_Pin */
	GPIO_InitStruct.Pin = JOY_CENTER_Pin | JOY_LEFT_Pin | JOY_RIGHT_Pin
			| JOY_UP_Pin | JOY_DOWN_Pin;
	GPIO_InitStruct.Mode = GPIO_MODE_INPUT;
	GPIO_InitStruct.Pull = GPIO_PULLDOWN;
	HAL_GPIO_Init(GPIOA, &GPIO_InitStruct);

	/*Configure GPIO pin : MFX_WAKEUP_Pin */
	GPIO_InitStruct.Pin = MFX_WAKEUP_Pin;
	GPIO_InitStruct.Mode = GPIO_MODE_EVT_RISING;
	GPIO_InitStruct.Pull = GPIO_NOPULL;
	HAL_GPIO_Init(MFX_WAKEUP_GPIO_Port, &GPIO_InitStruct);

	/*Configure GPIO pins : PA6 PA7 PA8 PA9
	 PA10 PA15 */
	GPIO_InitStruct.Pin = GPIO_PIN_6 | GPIO_PIN_7 | GPIO_PIN_8 | GPIO_PIN_9
			| GPIO_PIN_10 | GPIO_PIN_15;
	GPIO_InitStruct.Mode = GPIO_MODE_AF_PP;
	GPIO_InitStruct.Pull = GPIO_NOPULL;
	GPIO_InitStruct.Speed = GPIO_SPEED_FREQ_LOW;
	GPIO_InitStruct.Alternate = GPIO_AF11_LCD;
	HAL_GPIO_Init(GPIOA, &GPIO_InitStruct);

	/*Configure GPIO pins : PB0 PB1 PB10 PB11
	 PB12 PB13 PB14 PB15
	 PB4 PB5 PB7 PB9 */
	GPIO_InitStruct.Pin = GPIO_PIN_0 | GPIO_PIN_1 | GPIO_PIN_10 | GPIO_PIN_11
			| GPIO_PIN_12 | GPIO_PIN_13 | GPIO_PIN_14 | GPIO_PIN_15 | GPIO_PIN_4
			| GPIO_PIN_5 | GPIO_PIN_7 | GPIO_PIN_9;
	GPIO_InitStruct.Mode = GPIO_MODE_AF_PP;
	GPIO_InitStruct.Pull = GPIO_NOPULL;
	GPIO_InitStruct.Speed = GPIO_SPEED_FREQ_LOW;
	GPIO_InitStruct.Alternate = GPIO_AF11_LCD;
	HAL_GPIO_Init(GPIOB, &GPIO_InitStruct);

	/*Configure GPIO pin : LD_R_Pin */
	GPIO_InitStruct.Pin = LD_R_Pin;
	GPIO_InitStruct.Mode = GPIO_MODE_OUTPUT_PP;
	GPIO_InitStruct.Pull = GPIO_PULLUP;
	GPIO_InitStruct.Speed = GPIO_SPEED_FREQ_VERY_HIGH;
	HAL_GPIO_Init(LD_R_GPIO_Port, &GPIO_InitStruct);

	/*Configure GPIO pin : LD_G_Pin */
	GPIO_InitStruct.Pin = LD_G_Pin;
	GPIO_InitStruct.Mode = GPIO_MODE_OUTPUT_PP;
	GPIO_InitStruct.Pull = GPIO_PULLUP;
	GPIO_InitStruct.Speed = GPIO_SPEED_FREQ_VERY_HIGH;
	HAL_GPIO_Init(LD_G_GPIO_Port, &GPIO_InitStruct);

	/*Configure GPIO pin : AUDIO_CLK_Pin */
	GPIO_InitStruct.Pin = AUDIO_CLK_Pin;
	GPIO_InitStruct.Mode = GPIO_MODE_AF_PP;
	GPIO_InitStruct.Pull = GPIO_NOPULL;
	GPIO_InitStruct.Speed = GPIO_SPEED_FREQ_LOW;
	GPIO_InitStruct.Alternate = GPIO_AF13_SAI1;
	HAL_GPIO_Init(AUDIO_CLK_GPIO_Port, &GPIO_InitStruct);

	/*Configure GPIO pins : PE10 PE11 PE12 PE13
	 QSPI_D2_Pin QSPI_D3_Pin */
	GPIO_InitStruct.Pin = GPIO_PIN_10 | GPIO_PIN_11 | GPIO_PIN_12 | GPIO_PIN_13
			| QSPI_D2_Pin | QSPI_D3_Pin;
	GPIO_InitStruct.Mode = GPIO_MODE_AF_PP;
	GPIO_InitStruct.Pull = GPIO_NOPULL;
	GPIO_InitStruct.Speed = GPIO_SPEED_FREQ_VERY_HIGH;
	GPIO_InitStruct.Alternate = GPIO_AF10_QUADSPI;
	HAL_GPIO_Init(GPIOE, &GPIO_InitStruct);

	/*Configure GPIO pins : PD8 PD9 PD11 PD12
	 PD13 PD14 PD15 */
	GPIO_InitStruct.Pin = GPIO_PIN_8 | GPIO_PIN_9 | GPIO_PIN_11 | GPIO_PIN_12
			| GPIO_PIN_13 | GPIO_PIN_14 | GPIO_PIN_15;
	GPIO_InitStruct.Mode = GPIO_MODE_AF_PP;
	GPIO_InitStruct.Pull = GPIO_NOPULL;
	GPIO_InitStruct.Speed = GPIO_SPEED_FREQ_LOW;
	GPIO_InitStruct.Alternate = GPIO_AF11_LCD;
	HAL_GPIO_Init(GPIOD, &GPIO_InitStruct);

	/*Configure GPIO pins : OTG_FS_PowerSwitchOn_Pin OTG_FS_VBUS_Pin */
	GPIO_InitStruct.Pin = OTG_FS_PowerSwitchOn_Pin | OTG_FS_VBUS_Pin;
	GPIO_InitStruct.Mode = GPIO_MODE_OUTPUT_PP;
	GPIO_InitStruct.Pull = GPIO_NOPULL;
	GPIO_InitStruct.Speed = GPIO_SPEED_FREQ_LOW;
	HAL_GPIO_Init(GPIOC, &GPIO_InitStruct);

	/*Configure GPIO pins : EXT_RST_Pin GYRO_INT1_Pin */
	GPIO_InitStruct.Pin = EXT_RST_Pin | GYRO_INT1_Pin;
	GPIO_InitStruct.Mode = GPIO_MODE_EVT_RISING;
	GPIO_InitStruct.Pull = GPIO_NOPULL;
	HAL_GPIO_Init(GPIOD, &GPIO_InitStruct);

	/*Configure GPIO pin : GYRO_CS_Pin */
	GPIO_InitStruct.Pin = GYRO_CS_Pin;
	GPIO_InitStruct.Mode = GPIO_MODE_OUTPUT_PP;
	GPIO_InitStruct.Pull = GPIO_NOPULL;
	GPIO_InitStruct.Speed = GPIO_SPEED_FREQ_VERY_HIGH;
	HAL_GPIO_Init(GYRO_CS_GPIO_Port, &GPIO_InitStruct);

	/*Configure GPIO pin : M3V3_REG_ON_Pin */
	GPIO_InitStruct.Pin = M3V3_REG_ON_Pin;
	GPIO_InitStruct.Mode = GPIO_MODE_OUTPUT_PP;
	GPIO_InitStruct.Pull = GPIO_NOPULL;
	GPIO_InitStruct.Speed = GPIO_SPEED_FREQ_LOW;
	HAL_GPIO_Init(M3V3_REG_ON_GPIO_Port, &GPIO_InitStruct);

	/*Configure GPIO pin : I2C1_SCL_Pin */
	GPIO_InitStruct.Pin = I2C1_SCL_Pin;
	GPIO_InitStruct.Mode = GPIO_MODE_AF_OD;
	GPIO_InitStruct.Pull = GPIO_PULLUP;
	GPIO_InitStruct.Speed = GPIO_SPEED_FREQ_VERY_HIGH;
	GPIO_InitStruct.Alternate = GPIO_AF4_I2C1;
	HAL_GPIO_Init(I2C1_SCL_GPIO_Port, &GPIO_InitStruct);

	/*Configure GPIO pin : GYRO_INT2_Pin */
	GPIO_InitStruct.Pin = GYRO_INT2_Pin;
	GPIO_InitStruct.Mode = GPIO_MODE_EVT_RISING;
	GPIO_InitStruct.Pull = GPIO_NOPULL;
	HAL_GPIO_Init(GYRO_INT2_GPIO_Port, &GPIO_InitStruct);

	/*Configure GPIO pin : XL_CS_Pin */
	GPIO_InitStruct.Pin = XL_CS_Pin;
	GPIO_InitStruct.Mode = GPIO_MODE_OUTPUT_PP;
	GPIO_InitStruct.Pull = GPIO_NOPULL;
	GPIO_InitStruct.Speed = GPIO_SPEED_FREQ_LOW;
	HAL_GPIO_Init(XL_CS_GPIO_Port, &GPIO_InitStruct);

	/*Configure GPIO pin : XL_INT_Pin */
	GPIO_InitStruct.Pin = XL_INT_Pin;
	GPIO_InitStruct.Mode = GPIO_MODE_EVT_RISING;
	GPIO_InitStruct.Pull = GPIO_NOPULL;
	HAL_GPIO_Init(XL_INT_GPIO_Port, &GPIO_InitStruct);

}

void Error_Handler(void) {
	__disable_irq();
	while (1) {
	}
}
